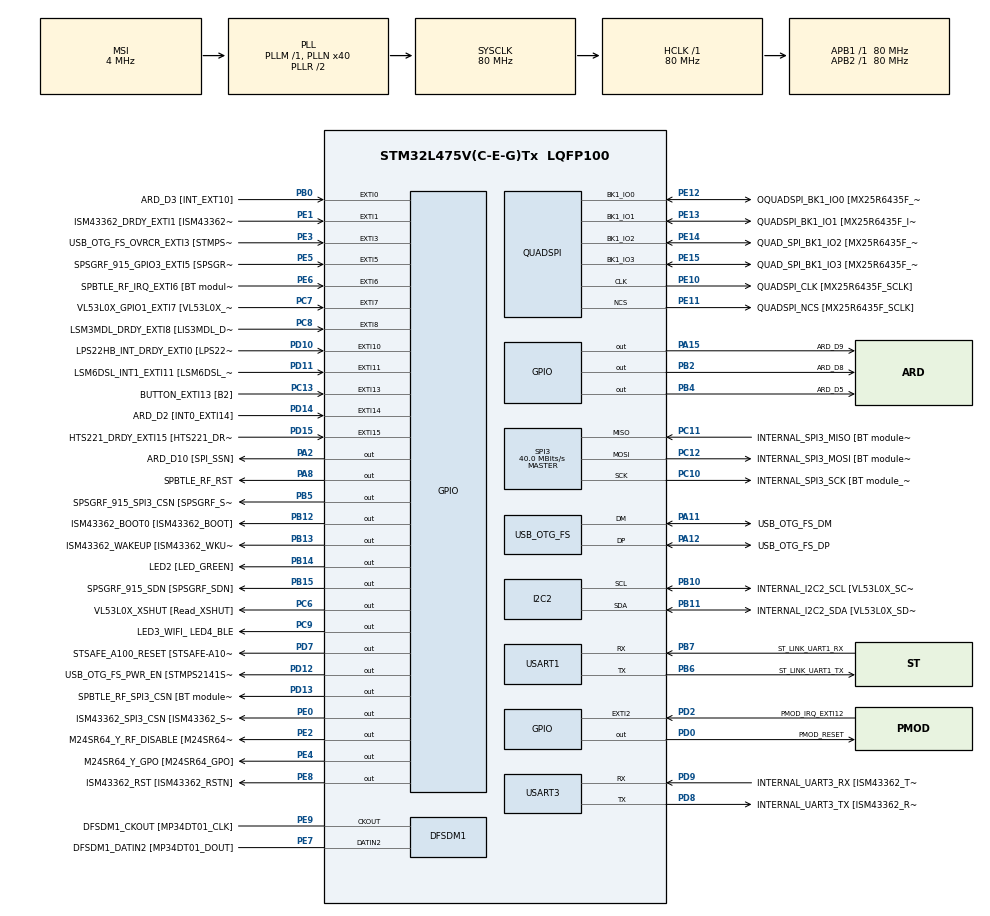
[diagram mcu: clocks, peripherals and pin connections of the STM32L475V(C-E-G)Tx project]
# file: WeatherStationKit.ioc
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Dma.I2C2_RX.0.Direction=DMA_PERIPH_TO_MEMORY
Dma.I2C2_RX.0.Instance=DMA1_Channel5
Dma.I2C2_RX.0.MemDataAlignment=DMA_MDATAALIGN_BYTE
Dma.I2C2_RX.0.MemInc=DMA_MINC_ENABLE
Dma.I2C2_RX.0.Mode=DMA_NORMAL
Dma.I2C2_RX.0.PeriphDataAlignment=DMA_PDATAALIGN_BYTE
Dma.I2C2_RX.0.PeriphInc=DMA_PINC_DISABLE
Dma.I2C2_RX.0.Priority=DMA_PRIORITY_LOW
Dma.I2C2_TX.1.Direction=DMA_MEMORY_TO_PERIPH
Dma.I2C2_TX.1.Instance=DMA1_Channel4
Dma.I2C2_TX.1.MemDataAlignment=DMA_MDATAALIGN_BYTE
Dma.I2C2_TX.1.MemInc=DMA_MINC_ENABLE
Dma.I2C2_TX.1.Mode=DMA_NORMAL
Dma.I2C2_TX.1.PeriphDataAlignment=DMA_PDATAALIGN_BYTE
Dma.I2C2_TX.1.PeriphInc=DMA_PINC_DISABLE
Dma.I2C2_TX.1.Priority=DMA_PRIORITY_LOW
Dma.Request0=I2C2_RX
Dma.Request1=I2C2_TX
FREERTOS.Queues01=commandQ,4,uint16_t,0,Dynamic,NULL,NULL;dataQ,8,uint16_t,0,Dynamic,NULL,NULL
FREERTOS.Tasks01=commandIn,32,128,StartCommandIn,Default,NULL,Dynamic,NULL,NULL;commandOut,24,128,StartCommandOut,Default,NULL,Dynamic,NULL,NULL;dataIn,16,128,StartDataIn,Default,NULL,Dynamic,NULL,NULL;dataOut,24,192,StartDataOut,Default,NULL,Dynamic,NULL,NULL
FREERTOS.configUSE_NEWLIB_REENTRANT=1
Mcu.Family=STM32L4
Mcu.Name=STM32L475V(C-E-G)Tx
Mcu.Package=LQFP100
NVIC.DMA1_Channel4_IRQn=true\:5\:0\:false\:false\:true\:true\:false\:true\:true
NVIC.DMA1_Channel5_IRQn=true\:5\:0\:false\:false\:true\:true\:false\:true\:true
NVIC.EXTI15_10_IRQn=true\:5\:0\:false\:false\:true\:true\:true\:true\:true
NVIC.EXTI9_5_IRQn=true\:5\:0\:false\:false\:true\:true\:true\:true\:true
NVIC.I2C2_EV_IRQn=true\:5\:0\:false\:false\:true\:true\:true\:true\:true
NVIC.PriorityGroup=NVIC_PRIORITYGROUP_4
NVIC.TIM6_DAC_IRQn=true\:15\:0\:false\:false\:true\:false\:false\:true\:true
NVIC.TimeBase=TIM6_DAC_IRQn
NVIC.TimeBaseIP=TIM6
PA0.GPIO_Label=ARD_D1 [UART4_TX]
PA0.Signal=UART4_TX
PA1.GPIO_Label=ARD_D0 [UART4_RX]
PA1.Signal=UART4_RX
PA10.GPIO_Label=USB_OTG_FS_ID
PA10.Signal=USB_OTG_FS_ID
PA11.GPIO_Label=USB_OTG_FS_DM
PA11.Mode=Device_Only
PA11.Signal=USB_OTG_FS_DM
PA12.GPIO_Label=USB_OTG_FS_DP
PA12.Mode=Device_Only
PA12.Signal=USB_OTG_FS_DP
PA13\ (JTMS-SWDIO).GPIO_Label=SYS_JTMS_SWDIO
PA13\ (JTMS-SWDIO).Mode=Serial_Wire
PA13\ (JTMS-SWDIO).Signal=SYS_JTMS-SWDIO
PA14\ (JTCK-SWCLK).GPIO_Label=SYS_JTCK_SWCLK
PA14\ (JTCK-SWCLK).Mode=Serial_Wire
PA14\ (JTCK-SWCLK).Signal=SYS_JTCK-SWCLK
PA15\ (JTDI).GPIO_Label=ARD_D9
PA15\ (JTDI).Signal=GPIO_Output
PA2.GPIO_Label=ARD_D10 [SPI_SSN]
PA2.Signal=GPIO_Output
PA3.GPIO_Label=ARD_D4
PA3.Signal=S_TIM2_CH4
PA4.GPIO_Label=ARD_D7
PA4.Signal=ADCx_IN9
PA5.GPIO_Label=ARD_D13 [SPI1_SCK]
PA5.Signal=SPI1_SCK
PA6.GPIO_Label=ARD_D12 [SPI1_MISO]
PA6.Signal=SPI1_MISO
PA7.GPIO_Label=ARD_D11 [SPI1_MOSI]
PA7.Signal=SPI1_MOSI
PA8.GPIO_Label=SPBTLE_RF_RST
PA8.Signal=GPIO_Output
PA9.GPIO_Label=USB_OTG_FS_VBUS [STMPS2141STR_OUT]
PA9.Signal=USB_OTG_FS_VBUS
PB0.GPIO_Label=ARD_D3 [INT_EXT10]
PB0.Signal=GPXTI0
PB1.GPIO_Label=ARD_D6 [ADC1_IN6]
PB1.Signal=ADCx_IN16
PB10.GPIO_Label=INTERNAL_I2C2_SCL [VL53L0X_SCL]
PB10.GPIO_Pu=GPIO_PULLUP
PB10.Mode=I2C
PB10.Signal=I2C2_SCL
PB11.GPIO_Label=INTERNAL_I2C2_SDA [VL53L0X_SDA]
PB11.GPIO_Pu=GPIO_PULLUP
PB11.Mode=I2C
PB11.Signal=I2C2_SDA
PB12.GPIO_Label=ISM43362_BOOT0 [ISM43362_BOOT]
PB12.Signal=GPIO_Output
PB13.GPIO_Label=ISM43362_WAKEUP [ISM43362_WKUP]
PB13.Signal=GPIO_Output
PB14.GPIO_Label=LED2 [LED_GREEN]
PB14.Signal=GPIO_Output
PB15.GPIO_Label=SPSGRF_915_SDN [SPSGRF_SDN]
PB15.Signal=GPIO_Output
PB2.GPIO_Label=ARD_D8
PB2.Signal=GPIO_Output
PB3\ (JTDO-TRACESWO).GPIO_Label=SYS_JTD0_SWO
PB3\ (JTDO-TRACESWO).Signal=SYS_JTDO-SWO
PB4\ (NJTRST).GPIO_Label=ARD_D5
PB4\ (NJTRST).Signal=GPIO_Output
PB5.GPIO_Label=SPSGRF_915_SPI3_CSN [SPSGRF_SPI_CS]
PB5.PinState=GPIO_PIN_SET
PB5.Signal=GPIO_Output
PB6.GPIO_Label=ST_LINK_UART1_TX
PB6.Mode=Asynchronous
PB6.Signal=USART1_TX
PB7.GPIO_Label=ST_LINK_UART1_RX
PB7.Mode=Asynchronous
PB7.Signal=USART1_RX
PB8.GPIO_Label=ARD_D15 [I2C1_SCL]
PB8.Signal=I2C1_SCL
PB9.GPIO_Label=ARD_D14 [I2C1_SDA]
PB9.Signal=I2C1_SDA
PC0.GPIO_Label=ARD_A5 [ADC]
PC0.Signal=ADCx_IN1
PC1.GPIO_Label=ARD_A4 [ADC]
PC1.Signal=ADCx_IN2
PC10.GPIO_Label=INTERNAL_SPI3_SCK [BT module_SPI_SCLK] [ISM43362_SCK]
PC10.Mode=Full_Duplex_Master
PC10.Signal=SPI3_SCK
PC11.GPIO_Label=INTERNAL_SPI3_MISO [BT module_SPI_MISO] [ISM43362_MISO]
PC11.Mode=Full_Duplex_Master
PC11.Signal=SPI3_MISO
PC12.GPIO_Label=INTERNAL_SPI3_MOSI [BT module_SPI_MOSI] [ISM43362_MOSI]
PC12.Mode=Full_Duplex_Master
PC12.Signal=SPI3_MOSI
PC13.GPIO_Label=BUTTON_EXTI13 [B2]
PC13.GPIO_ModeDefaultEXTI=GPIO_MODE_IT_FALLING
PC13.Signal=GPXTI13
PC14-OSC32_IN\ (PC14).Mode=LSE-External-Oscillator
PC14-OSC32_IN\ (PC14).Signal=RCC_OSC32_IN
PC15-OSC32_OUT\ (PC15).Mode=LSE-External-Oscillator
PC15-OSC32_OUT\ (PC15).Signal=RCC_OSC32_OUT
PC2.GPIO_Label=ARD_A3 [ADC]
PC2.Signal=ADCx_IN3
PC3.GPIO_Label=ARD_A2 [ADC]
PC3.Signal=ADCx_IN4
PC4.GPIO_Label=ARD_A1 [ADC]
PC4.Signal=ADCx_IN13
PC5.GPIO_Label=ARD_A0 [ADC]
PC5.Signal=ADCx_IN14
PC6.GPIO_Label=VL53L0X_XSHUT [Read_XSHUT]
PC6.Signal=GPIO_Output
PC7.GPIO_Label=VL53L0X_GPIO1_EXTI7 [VL53L0X_GPIO1]
PC7.Signal=GPXTI7
PC8.GPIO_Label=LSM3MDL_DRDY_EXTI8 [LIS3MDL_DRDY]
PC8.Signal=GPXTI8
PC9.GPIO_Label=LED3_WIFI_ LED4_BLE
PC9.Signal=GPIO_Output
PD0.GPIO_Label=PMOD_RESET
PD0.Signal=GPIO_Output
PD1.GPIO_Label=PMOD_SPI2_SCK
PD1.Signal=SPI2_SCK
PD10.GPIO_Label=LPS22HB_INT_DRDY_EXTI0 [LPS22HB_INT_DRDY] 
PD10.Signal=GPXTI10
PD11.GPIO_Label=LSM6DSL_INT1_EXTI11 [LSM6DSL_INT1]
PD11.Signal=GPXTI11
PD12.GPIO_Label=USB_OTG_FS_PWR_EN [STMPS2141STR_EN]
PD12.Signal=GPIO_Output
PD13.GPIO_Label=SPBTLE_RF_SPI3_CSN [BT module_SPI_CS]
PD13.PinState=GPIO_PIN_SET
PD13.Signal=GPIO_Output
PD14.GPIO_Label=ARD_D2 [INT0_EXTI14]
PD14.Signal=GPXTI14
PD15.GPIO_Label=HTS221_DRDY_EXTI15 [HTS221_DRDY]
PD15.Signal=GPXTI15
PD2.GPIO_Label=PMOD_IRQ_EXTI12
PD2.Signal=GPXTI2
PD3.GPIO_Label=PMOD_UART2_CTS
PD3.Signal=USART2_CTS
PD4.GPIO_Label=PMOD_UART2_RTS
PD4.Signal=USART2_RTS
PD5.GPIO_Label=PMOD_UART2_TX
PD5.Signal=USART2_TX
PD6.GPIO_Label=PMOD_UART2_RX
PD6.Signal=USART2_RX
PD7.GPIO_Label=STSAFE_A100_RESET [STSAFE-A100_RESET]
PD7.Signal=GPIO_Output
PD8.GPIO_Label=INTERNAL_UART3_TX [ISM43362_RX]
PD8.Mode=Asynchronous
PD8.Signal=USART3_TX
PD9.GPIO_Label=INTERNAL_UART3_RX [ISM43362_TX]
PD9.Mode=Asynchronous
PD9.Signal=USART3_RX
PE0.GPIO_Label=ISM43362_SPI3_CSN [ISM43362_SSN]
PE0.PinState=GPIO_PIN_SET
PE0.Signal=GPIO_Output
PE1.GPIO_Label=ISM43362_DRDY_EXTI1 [ISM43362_DATARDY]
PE1.Signal=GPXTI1
PE10.GPIO_Label=QUADSPI_CLK [MX25R6435F_SCLK]
PE10.Mode=Single Bank
PE10.Signal=QUADSPI_CLK
PE11.GPIO_Label=QUADSPI_NCS [MX25R6435F_SCLK]
PE11.Mode=Single Bank
PE11.Signal=QUADSPI_NCS
PE12.GPIO_Label=OQUADSPI_BK1_IO0 [MX25R6435F_IO0]
PE12.Mode=Single Bank
PE12.Signal=QUADSPI_BK1_IO0
PE13.GPIO_Label=QUADSPI_BK1_IO1 [MX25R6435F_IO1]
PE13.Mode=Single Bank
PE13.Signal=QUADSPI_BK1_IO1
PE14.GPIO_Label=QUAD_SPI_BK1_IO2 [MX25R6435F_IO2]
PE14.Mode=Single Bank
PE14.Signal=QUADSPI_BK1_IO2
PE15.GPIO_Label=QUAD_SPI_BK1_IO3 [MX25R6435F_IO3]
PE15.Mode=Single Bank
PE15.Signal=QUADSPI_BK1_IO3
PE2.GPIO_Label=M24SR64_Y_RF_DISABLE [M24SR64_RFDIS]
PE2.Signal=GPIO_Output
PE3.GPIO_Label=USB_OTG_FS_OVRCR_EXTI3 [STMPS2141STR_FAULT]
PE3.Signal=GPXTI3
PE4.GPIO_Label=M24SR64_Y_GPO [M24SR64_GPO]
PE4.Signal=GPIO_Output
PE5.GPIO_Label=SPSGRF_915_GPIO3_EXTI5 [SPSGRF_GPIO_3]
PE5.Signal=GPXTI5
PE6.GPIO_Label=SPBTLE_RF_IRQ_EXTI6 [BT module_SPI_IRQ]
PE6.Signal=GPXTI6
PE7.GPIO_Label=DFSDM1_DATIN2 [MP34DT01_DOUT]
PE7.Signal=S_DATAIN2DFSDM1
PE8.GPIO_Label=ISM43362_RST [ISM43362_RSTN]
PE8.Signal=GPIO_Output
PE9.GPIO_Label=DFSDM1_CKOUT [MP34DT01_CLK]
PE9.Signal=S_CKOUTDFSDM1
ProjectManager.HeapSize=0x200
ProjectManager.StackSize=0x400
ProjectManager.TargetToolchain=STM32CubeIDE
QUADSPI.ClockPrescaler=2
QUADSPI.FifoThreshold=4
QUADSPI.FlashSize=23
QUADSPI.SampleShifting=QSPI_SAMPLE_SHIFTING_HALFCYCLE
RCC.ADCFreq_Value=48000000
RCC.AHBFreq_Value=80000000
RCC.APB1Freq_Value=80000000
RCC.APB1TimFreq_Value=80000000
RCC.APB2Freq_Value=80000000
RCC.APB2TimFreq_Value=80000000
RCC.CortexFreq_Value=80000000
RCC.HCLKFreq_Value=80000000
RCC.HSE_VALUE=8000000
RCC.HSI_VALUE=16000000
RCC.MSI_VALUE=4000000
RCC.PLLN=40
RCC.PLLSAI1N=24
RCC.SYSCLKFreq_VALUE=80000000
RCC.SYSCLKSource=RCC_SYSCLKSOURCE_PLLCLK
RCC.USBFreq_Value=48000000
RCC.VCOOutputFreq_Value=160000000
SH.ADCx_IN1.0=ADC1_IN1
SH.ADCx_IN13.0=ADC1_IN13
SH.ADCx_IN14.0=ADC1_IN14
SH.ADCx_IN16.0=ADC1_IN16
SH.ADCx_IN2.0=ADC1_IN2
SH.ADCx_IN3.0=ADC1_IN3
SH.ADCx_IN4.0=ADC1_IN4
SH.ADCx_IN9.0=ADC1_IN9
SH.S_CKOUTDFSDM1.0=DFSDM1_CKOUT,CKOUT
SH.S_CKOUTDFSDM1.1=DFSDM1_CKOUT,PDM_SPI_Input_from_ch12_and_Internal_Clock
SH.S_DATAIN2DFSDM1.0=DFSDM1_DATIN2,PDM_SPI_Input_from_ch12_and_Internal_Clock
SH.S_TIM2_CH4.0=TIM2_CH4
SPI3.CalculateBaudRate=40.0 MBits/s
SPI3.Direction=SPI_DIRECTION_2LINES
SPI3.Mode=SPI_MODE_MASTER
SPI3.VirtualType=VM_MASTER
USART1.VirtualMode-Asynchronous=VM_ASYNC
USART3.VirtualMode-Asynchronous=VM_ASYNC
USB_OTG_FS.VirtualMode=Device_Only
VP_FREERTOS_VS_CMSIS_V2.Mode=CMSIS_V2
VP_SYS_VS_tim6.Mode=TIM6
board=B-L475E-IOT01A1

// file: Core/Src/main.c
/* USER CODE BEGIN Header */
/**
  ******************************************************************************
  * @file           : main.c
  * @brief          : Main program body
  ******************************************************************************
  * @attention
  *
  * Copyright (c) 2024 STMicroelectronics.
  * All rights reserved.
  *
  * This software is licensed under terms that can be found in the LICENSE file
  * in the root directory of this software component.
  * If no LICENSE file comes with this software, it is provided AS-IS.
  *
  ******************************************************************************
  */
/* USER CODE END Header */
#include "main.h"
#include "cmsis_os.h"

/* USER CODE BEGIN Includes */
#include "stdio.h"
#include "string.h"
/* USER CODE END Includes */

/* USER CODE BEGIN PTD */
struct NetworkContext;
typedef struct NetworkContext NetworkContext_t;
/* USER CODE END PTD */

/* USER CODE BEGIN PD */
#define HST221_READ_ADDRESS  0xbf  // read from device
#define HST221_WRITE_ADDRESS 0xbe  // write to device
/* USER CODE END PD */

DFSDM_Channel_HandleTypeDef hdfsdm1_channel1;

I2C_HandleTypeDef hi2c2;
DMA_HandleTypeDef hdma_i2c2_rx;
DMA_HandleTypeDef hdma_i2c2_tx;

QSPI_HandleTypeDef hqspi;

SPI_HandleTypeDef hspi3;

UART_HandleTypeDef huart1;
UART_HandleTypeDef huart3;

PCD_HandleTypeDef hpcd_USB_OTG_FS;

///* Definitions for commandIn */
//osThreadId_t commandInHandle;
//const osThreadAttr_t commandIn_attributes = {
//  .name = "commandIn",
//  .stack_size = 128 * 4,
//  .priority = (osPriority_t) osPriorityAboveNormal,
//};
/* Definitions for commandOut */
osThreadId_t commandOutHandle;
const osThreadAttr_t commandOut_attributes = {
  .name = "commandOut",
  .stack_size = 128 * 4,
  .priority = (osPriority_t) osPriorityNormal,
};
/* Definitions for dataIn */
osThreadId_t dataInHandle;
const osThreadAttr_t dataIn_attributes = {
  .name = "dataIn",
  .stack_size = 128 * 4,
  .priority = (osPriority_t) osPriorityNormal,
};
/* Definitions for dataOut */
osThreadId_t dataOutHandle;
const osThreadAttr_t dataOut_attributes = {
  .name = "dataOut",
  .stack_size = 192 * 4,
  .priority = (osPriority_t) osPriorityNormal,
};
/* Definitions for commandQ */
osMessageQueueId_t commandQHandle;
const osMessageQueueAttr_t commandQ_attributes = {
  .name = "commandQ"
};
/* Definitions for dataQ */
osMessageQueueId_t dataQHandle;
const osMessageQueueAttr_t dataQ_attributes = {
  .name = "dataQ"
};
/* USER CODE BEGIN PV */
volatile static int temp_tx_done = 0;
volatile static int temp_rx_done = 0;
//volatile static int temp_hum_ready = 0;
/* USER CODE END PV */

void SystemClock_Config(void);
static void MX_GPIO_Init(void);
static void MX_DMA_Init(void);
static void MX_DFSDM1_Init(void);
static void MX_I2C2_Init(void);
static void MX_QUADSPI_Init(void);
static void MX_SPI3_Init(void);
static void MX_USART1_UART_Init(void);
static void MX_USART3_UART_Init(void);
static void MX_USB_OTG_FS_PCD_Init(void);
//void StartCommandIn(void *argument);
void StartCommandOut(void *argument);
void StartDataIn(void *argument);
void StartDataOut(void *argument);

/* USER CODE BEGIN PFP */
void HAL_I2C_MasterTxCpltCallback(I2C_HandleTypeDef *hi2c);
void HAL_I2C_MasterRxCpltCallback(I2C_HandleTypeDef *hi2c);
/* USER CODE END PFP */

/* USER CODE BEGIN 0 */
void HAL_I2C_MasterTxCpltCallback(I2C_HandleTypeDef *hi2c)
{
	temp_tx_done = 1;
}

void HAL_I2C_MasterRxCpltCallback(I2C_HandleTypeDef *hi2c)
{
	temp_rx_done = 1;
}
/* USER CODE END 0 */

int main(void)
{

  /* MCU Configuration--------------------------------------------------------*/

  /* Reset of all peripherals, Initializes the Flash interface and the Systick. */
  HAL_Init();

  /* Configure the system clock */
  SystemClock_Config();

  /* Initialize all configured peripherals */
  MX_GPIO_Init();
  MX_DMA_Init();
  MX_DFSDM1_Init();
  MX_I2C2_Init();
  MX_QUADSPI_Init();
  MX_SPI3_Init();
  MX_USART1_UART_Init();
  MX_USART3_UART_Init();
  MX_USB_OTG_FS_PCD_Init();

  /* USER CODE BEGIN 2 */
  // Transmit request to power on thermometer device
  uint8_t temp_power_reg = 0x20;
  uint8_t power_data[] = { temp_power_reg, 0xf0 };  // Turn on device
  HAL_StatusTypeDef status;
  status = HAL_I2C_Master_Transmit(&hi2c2, HST221_WRITE_ADDRESS, power_data, sizeof(power_data), 1000);

  // Print out transmit status
  char buf[100];
  snprintf(buf, sizeof(buf), "\r\n(Power device on): HAL_I2C_Master_Transmit: status: %u\r\n", status);
  HAL_UART_Transmit(&huart1, (uint8_t *)buf, strlen(buf), 1000);
  /* USER CODE END 2 */

  /* Init scheduler */
  osKernelInitialize();

  /* Create the queue(s) */
  /* creation of commandQ */
  commandQHandle = osMessageQueueNew (4, sizeof(uint16_t), &commandQ_attributes);

  /* creation of dataQ */
  dataQHandle = osMessageQueueNew (8, sizeof(uint16_t), &dataQ_attributes);

  /* Create the thread(s) */
  /* creation of commandIn */
//  commandInHandle = osThreadNew(StartCommandIn, NULL, &commandIn_attributes);

  /* creation of commandOut */
  commandOutHandle = osThreadNew(StartCommandOut, NULL, &commandOut_attributes);

  /* creation of dataIn */
  dataInHandle = osThreadNew(StartDataIn, NULL, &dataIn_attributes);

  /* creation of dataOut */
  dataOutHandle = osThreadNew(StartDataOut, NULL, &dataOut_attributes);

  /* Start scheduler */
  osKernelStart();

  /* We should never get here as control is now taken by the scheduler */

  /* Infinite loop */
  while (1)
  {

  }
}

void SystemClock_Config(void)
{
  RCC_OscInitTypeDef RCC_OscInitStruct = {0};
  RCC_ClkInitTypeDef RCC_ClkInitStruct = {0};

  /** Configure the main internal regulator output voltage
  */
  if (HAL_PWREx_ControlVoltageScaling(PWR_REGULATOR_VOLTAGE_SCALE1) != HAL_OK)
  {
    Error_Handler();
  }

  /** Configure LSE Drive Capability
  */
  HAL_PWR_EnableBkUpAccess();
  __HAL_RCC_LSEDRIVE_CONFIG(RCC_LSEDRIVE_LOW);

  /** Initializes the RCC Oscillators according to the specified parameters
  * in the RCC_OscInitTypeDef structure.
  */
  RCC_OscInitStruct.OscillatorType = RCC_OSCILLATORTYPE_LSE|RCC_OSCILLATORTYPE_MSI;
  RCC_OscInitStruct.LSEState = RCC_LSE_ON;
  RCC_OscInitStruct.MSIState = RCC_MSI_ON;
  RCC_OscInitStruct.MSICalibrationValue = 0;
  RCC_OscInitStruct.MSIClockRange = RCC_MSIRANGE_6;
  RCC_OscInitStruct.PLL.PLLState = RCC_PLL_ON;
  RCC_OscInitStruct.PLL.PLLSource = RCC_PLLSOURCE_MSI;
  RCC_OscInitStruct.PLL.PLLM = 1;
  RCC_OscInitStruct.PLL.PLLN = 40;
  RCC_OscInitStruct.PLL.PLLP = RCC_PLLP_DIV7;
  RCC_OscInitStruct.PLL.PLLQ = RCC_PLLQ_DIV2;
  RCC_OscInitStruct.PLL.PLLR = RCC_PLLR_DIV2;
  if (HAL_RCC_OscConfig(&RCC_OscInitStruct) != HAL_OK)
  {
    Error_Handler();
  }

  /** Initializes the CPU, AHB and APB buses clocks
  */
  RCC_ClkInitStruct.ClockType = RCC_CLOCKTYPE_HCLK|RCC_CLOCKTYPE_SYSCLK
                              |RCC_CLOCKTYPE_PCLK1|RCC_CLOCKTYPE_PCLK2;
  RCC_ClkInitStruct.SYSCLKSource = RCC_SYSCLKSOURCE_PLLCLK;
  RCC_ClkInitStruct.AHBCLKDivider = RCC_SYSCLK_DIV1;
  RCC_ClkInitStruct.APB1CLKDivider = RCC_HCLK_DIV1;
  RCC_ClkInitStruct.APB2CLKDivider = RCC_HCLK_DIV1;

  if (HAL_RCC_ClockConfig(&RCC_ClkInitStruct, FLASH_LATENCY_4) != HAL_OK)
  {
    Error_Handler();
  }

  /** Enable MSI Auto calibration
  */
  HAL_RCCEx_EnableMSIPLLMode();
}

static void MX_DFSDM1_Init(void)
{

  hdfsdm1_channel1.Instance = DFSDM1_Channel1;
  hdfsdm1_channel1.Init.OutputClock.Activation = ENABLE;
  hdfsdm1_channel1.Init.OutputClock.Selection = DFSDM_CHANNEL_OUTPUT_CLOCK_SYSTEM;
  hdfsdm1_channel1.Init.OutputClock.Divider = 2;
  hdfsdm1_channel1.Init.Input.Multiplexer = DFSDM_CHANNEL_EXTERNAL_INPUTS;
  hdfsdm1_channel1.Init.Input.DataPacking = DFSDM_CHANNEL_STANDARD_MODE;
  hdfsdm1_channel1.Init.Input.Pins = DFSDM_CHANNEL_FOLLOWING_CHANNEL_PINS;
  hdfsdm1_channel1.Init.SerialInterface.Type = DFSDM_CHANNEL_SPI_RISING;
  hdfsdm1_channel1.Init.SerialInterface.SpiClock = DFSDM_CHANNEL_SPI_CLOCK_INTERNAL;
  hdfsdm1_channel1.Init.Awd.FilterOrder = DFSDM_CHANNEL_FASTSINC_ORDER;
  hdfsdm1_channel1.Init.Awd.Oversampling = 1;
  hdfsdm1_channel1.Init.Offset = 0;
  hdfsdm1_channel1.Init.RightBitShift = 0x00;
  if (HAL_DFSDM_ChannelInit(&hdfsdm1_channel1) != HAL_OK)
  {
    Error_Handler();
  }

}

static void MX_I2C2_Init(void)
{

  hi2c2.Instance = I2C2;
  hi2c2.Init.Timing = 0x00000E14;
  hi2c2.Init.OwnAddress1 = 0;
  hi2c2.Init.AddressingMode = I2C_ADDRESSINGMODE_7BIT;
  hi2c2.Init.DualAddressMode = I2C_DUALADDRESS_DISABLE;
  hi2c2.Init.OwnAddress2 = 0;
  hi2c2.Init.OwnAddress2Masks = I2C_OA2_NOMASK;
  hi2c2.Init.GeneralCallMode = I2C_GENERALCALL_DISABLE;
  hi2c2.Init.NoStretchMode = I2C_NOSTRETCH_DISABLE;
  if (HAL_I2C_Init(&hi2c2) != HAL_OK)
  {
    Error_Handler();
  }

  /** Configure Analogue filter
  */
  if (HAL_I2CEx_ConfigAnalogFilter(&hi2c2, I2C_ANALOGFILTER_ENABLE) != HAL_OK)
  {
    Error_Handler();
  }

  /** Configure Digital filter
  */
  if (HAL_I2CEx_ConfigDigitalFilter(&hi2c2, 0) != HAL_OK)
  {
    Error_Handler();
  }

}

static void MX_QUADSPI_Init(void)
{

  /* QUADSPI parameter configuration*/
  hqspi.Instance = QUADSPI;
  hqspi.Init.ClockPrescaler = 2;
  hqspi.Init.FifoThreshold = 4;
  hqspi.Init.SampleShifting = QSPI_SAMPLE_SHIFTING_HALFCYCLE;
  hqspi.Init.FlashSize = 23;
  hqspi.Init.ChipSelectHighTime = QSPI_CS_HIGH_TIME_1_CYCLE;
  hqspi.Init.ClockMode = QSPI_CLOCK_MODE_0;
  if (HAL_QSPI_Init(&hqspi) != HAL_OK)
  {
    Error_Handler();
  }

}

static void MX_SPI3_Init(void)
{

  /* SPI3 parameter configuration*/
  hspi3.Instance = SPI3;
  hspi3.Init.Mode = SPI_MODE_MASTER;
  hspi3.Init.Direction = SPI_DIRECTION_2LINES;
  hspi3.Init.DataSize = SPI_DATASIZE_4BIT;
  hspi3.Init.CLKPolarity = SPI_POLARITY_LOW;
  hspi3.Init.CLKPhase = SPI_PHASE_1EDGE;
  hspi3.Init.NSS = SPI_NSS_SOFT;
  hspi3.Init.BaudRatePrescaler = SPI_BAUDRATEPRESCALER_2;
  hspi3.Init.FirstBit = SPI_FIRSTBIT_MSB;
  hspi3.Init.TIMode = SPI_TIMODE_DISABLE;
  hspi3.Init.CRCCalculation = SPI_CRCCALCULATION_DISABLE;
  hspi3.Init.CRCPolynomial = 7;
  hspi3.Init.CRCLength = SPI_CRC_LENGTH_DATASIZE;
  hspi3.Init.NSSPMode = SPI_NSS_PULSE_ENABLE;
  if (HAL_SPI_Init(&hspi3) != HAL_OK)
  {
    Error_Handler();
  }

}

static void MX_USART1_UART_Init(void)
{

  huart1.Instance = USART1;
  huart1.Init.BaudRate = 115200;
  huart1.Init.WordLength = UART_WORDLENGTH_8B;
  huart1.Init.StopBits = UART_STOPBITS_1;
  huart1.Init.Parity = UART_PARITY_NONE;
  huart1.Init.Mode = UART_MODE_TX_RX;
  huart1.Init.HwFlowCtl = UART_HWCONTROL_NONE;
  huart1.Init.OverSampling = UART_OVERSAMPLING_16;
  huart1.Init.OneBitSampling = UART_ONE_BIT_SAMPLE_DISABLE;
  huart1.AdvancedInit.AdvFeatureInit = UART_ADVFEATURE_NO_INIT;
  if (HAL_UART_Init(&huart1) != HAL_OK)
  {
    Error_Handler();
  }

}

static void MX_USART3_UART_Init(void)
{

  huart3.Instance = USART3;
  huart3.Init.BaudRate = 115200;
  huart3.Init.WordLength = UART_WORDLENGTH_8B;
  huart3.Init.StopBits = UART_STOPBITS_1;
  huart3.Init.Parity = UART_PARITY_NONE;
  huart3.Init.Mode = UART_MODE_TX_RX;
  huart3.Init.HwFlowCtl = UART_HWCONTROL_NONE;
  huart3.Init.OverSampling = UART_OVERSAMPLING_16;
  huart3.Init.OneBitSampling = UART_ONE_BIT_SAMPLE_DISABLE;
  huart3.AdvancedInit.AdvFeatureInit = UART_ADVFEATURE_NO_INIT;
  if (HAL_UART_Init(&huart3) != HAL_OK)
  {
    Error_Handler();
  }

}

static void MX_USB_OTG_FS_PCD_Init(void)
{

  hpcd_USB_OTG_FS.Instance = USB_OTG_FS;
  hpcd_USB_OTG_FS.Init.dev_endpoints = 6;
  hpcd_USB_OTG_FS.Init.speed = PCD_SPEED_FULL;
  hpcd_USB_OTG_FS.Init.phy_itface = PCD_PHY_EMBEDDED;
  hpcd_USB_OTG_FS.Init.Sof_enable = DISABLE;
  hpcd_USB_OTG_FS.Init.low_power_enable = DISABLE;
  hpcd_USB_OTG_FS.Init.lpm_enable = DISABLE;
  hpcd_USB_OTG_FS.Init.battery_charging_enable = DISABLE;
  hpcd_USB_OTG_FS.Init.use_dedicated_ep1 = DISABLE;
  hpcd_USB_OTG_FS.Init.vbus_sensing_enable = DISABLE;
  if (HAL_PCD_Init(&hpcd_USB_OTG_FS) != HAL_OK)
  {
    Error_Handler();
  }

}

static void MX_DMA_Init(void)
{

  /* DMA controller clock enable */
  __HAL_RCC_DMA1_CLK_ENABLE();

  /* DMA interrupt init */
  /* DMA1_Channel4_IRQn interrupt configuration */
  HAL_NVIC_SetPriority(DMA1_Channel4_IRQn, 5, 0);
  HAL_NVIC_EnableIRQ(DMA1_Channel4_IRQn);
  /* DMA1_Channel5_IRQn interrupt configuration */
  HAL_NVIC_SetPriority(DMA1_Channel5_IRQn, 5, 0);
  HAL_NVIC_EnableIRQ(DMA1_Channel5_IRQn);

}

static void MX_GPIO_Init(void)
{
  GPIO_InitTypeDef GPIO_InitStruct = {0};

  /* GPIO Ports Clock Enable */
  __HAL_RCC_GPIOE_CLK_ENABLE();
  __HAL_RCC_GPIOC_CLK_ENABLE();
  __HAL_RCC_GPIOA_CLK_ENABLE();
  __HAL_RCC_GPIOB_CLK_ENABLE();
  __HAL_RCC_GPIOD_CLK_ENABLE();

  /*Configure GPIO pin Output Level */
  HAL_GPIO_WritePin(GPIOE, M24SR64_Y_RF_DISABLE_Pin|M24SR64_Y_GPO_Pin|ISM43362_RST_Pin, GPIO_PIN_RESET);

  /*Configure GPIO pin Output Level */
  HAL_GPIO_WritePin(GPIOA, ARD_D10_Pin|SPBTLE_RF_RST_Pin|ARD_D9_Pin, GPIO_PIN_RESET);

  /*Configure GPIO pin Output Level */
  HAL_GPIO_WritePin(GPIOB, ARD_D8_Pin|ISM43362_BOOT0_Pin|ISM43362_WAKEUP_Pin|LED2_Pin
                          |SPSGRF_915_SDN_Pin|ARD_D5_Pin, GPIO_PIN_RESET);

  /*Configure GPIO pin Output Level */
  HAL_GPIO_WritePin(GPIOD, USB_OTG_FS_PWR_EN_Pin|PMOD_RESET_Pin|STSAFE_A100_RESET_Pin, GPIO_PIN_RESET);

  /*Configure GPIO pin Output Level */
  HAL_GPIO_WritePin(SPBTLE_RF_SPI3_CSN_GPIO_Port, SPBTLE_RF_SPI3_CSN_Pin, GPIO_PIN_SET);

  /*Configure GPIO pin Output Level */
  HAL_GPIO_WritePin(GPIOC, VL53L0X_XSHUT_Pin|LED3_WIFI__LED4_BLE_Pin, GPIO_PIN_RESET);

  /*Configure GPIO pin Output Level */
  HAL_GPIO_WritePin(SPSGRF_915_SPI3_CSN_GPIO_Port, SPSGRF_915_SPI3_CSN_Pin, GPIO_PIN_SET);

  /*Configure GPIO pin Output Level */
  HAL_GPIO_WritePin(ISM43362_SPI3_CSN_GPIO_Port, ISM43362_SPI3_CSN_Pin, GPIO_PIN_SET);

  /*Configure GPIO pins : M24SR64_Y_RF_DISABLE_Pin M24SR64_Y_GPO_Pin ISM43362_RST_Pin ISM43362_SPI3_CSN_Pin */
  GPIO_InitStruct.Pin = M24SR64_Y_RF_DISABLE_Pin|M24SR64_Y_GPO_Pin|ISM43362_RST_Pin|ISM43362_SPI3_CSN_Pin;
  GPIO_InitStruct.Mode = GPIO_MODE_OUTPUT_PP;
  GPIO_InitStruct.Pull = GPIO_NOPULL;
  GPIO_InitStruct.Speed = GPIO_SPEED_FREQ_LOW;
  HAL_GPIO_Init(GPIOE, &GPIO_InitStruct);

  /*Configure GPIO pins : USB_OTG_FS_OVRCR_EXTI3_Pin SPSGRF_915_GPIO3_EXTI5_Pin SPBTLE_RF_IRQ_EXTI6_Pin ISM43362_DRDY_EXTI1_Pin */
  GPIO_InitStruct.Pin = USB_OTG_FS_OVRCR_EXTI3_Pin|SPSGRF_915_GPIO3_EXTI5_Pin|SPBTLE_RF_IRQ_EXTI6_Pin|ISM43362_DRDY_EXTI1_Pin;
  GPIO_InitStruct.Mode = GPIO_MODE_IT_RISING;
  GPIO_InitStruct.Pull = GPIO_NOPULL;
  HAL_GPIO_Init(GPIOE, &GPIO_InitStruct);

  /*Configure GPIO pin : BUTTON_EXTI13_Pin */
  GPIO_InitStruct.Pin = BUTTON_EXTI13_Pin;
  GPIO_InitStruct.Mode = GPIO_MODE_IT_FALLING;
  GPIO_InitStruct.Pull = GPIO_NOPULL;
  HAL_GPIO_Init(BUTTON_EXTI13_GPIO_Port, &GPIO_InitStruct);

  /*Configure GPIO pins : ARD_A5_Pin ARD_A4_Pin ARD_A3_Pin ARD_A2_Pin
                           ARD_A1_Pin ARD_A0_Pin */
  GPIO_InitStruct.Pin = ARD_A5_Pin|ARD_A4_Pin|ARD_A3_Pin|ARD_A2_Pin
                          |ARD_A1_Pin|ARD_A0_Pin;
  GPIO_InitStruct.Mode = GPIO_MODE_ANALOG_ADC_CONTROL;
  GPIO_InitStruct.Pull = GPIO_NOPULL;
  HAL_GPIO_Init(GPIOC, &GPIO_InitStruct);

  /*Configure GPIO pins : ARD_D1_Pin ARD_D0_Pin */
  GPIO_InitStruct.Pin = ARD_D1_Pin|ARD_D0_Pin;
  GPIO_InitStruct.Mode = GPIO_MODE_AF_PP;
  GPIO_InitStruct.Pull = GPIO_NOPULL;
  GPIO_InitStruct.Speed = GPIO_SPEED_FREQ_VERY_HIGH;
  GPIO_InitStruct.Alternate = GPIO_AF8_UART4;
  HAL_GPIO_Init(GPIOA, &GPIO_InitStruct);

  /*Configure GPIO pins : ARD_D10_Pin SPBTLE_RF_RST_Pin ARD_D9_Pin */
  GPIO_InitStruct.Pin = ARD_D10_Pin|SPBTLE_RF_RST_Pin|ARD_D9_Pin;
  GPIO_InitStruct.Mode = GPIO_MODE_OUTPUT_PP;
  GPIO_InitStruct.Pull = GPIO_NOPULL;
  GPIO_InitStruct.Speed = GPIO_SPEED_FREQ_LOW;
  HAL_GPIO_Init(GPIOA, &GPIO_InitStruct);

  /*Configure GPIO pin : ARD_D4_Pin */
  GPIO_InitStruct.Pin = ARD_D4_Pin;
  GPIO_InitStruct.Mode = GPIO_MODE_AF_PP;
  GPIO_InitStruct.Pull = GPIO_NOPULL;
  GPIO_InitStruct.Speed = GPIO_SPEED_FREQ_LOW;
  GPIO_InitStruct.Alternate = GPIO_AF1_TIM2;
  HAL_GPIO_Init(ARD_D4_GPIO_Port, &GPIO_InitStruct);

  /*Configure GPIO pin : ARD_D7_Pin */
  GPIO_InitStruct.Pin = ARD_D7_Pin;
  GPIO_InitStruct.Mode = GPIO_MODE_ANALOG_ADC_CONTROL;
  GPIO_InitStruct.Pull = GPIO_NOPULL;
  HAL_GPIO_Init(ARD_D7_GPIO_Port, &GPIO_InitStruct);

  /*Configure GPIO pins : ARD_D13_Pin ARD_D12_Pin ARD_D11_Pin */
  GPIO_InitStruct.Pin = ARD_D13_Pin|ARD_D12_Pin|ARD_D11_Pin;
  GPIO_InitStruct.Mode = GPIO_MODE_AF_PP;
  GPIO_InitStruct.Pull = GPIO_NOPULL;
  GPIO_InitStruct.Speed = GPIO_SPEED_FREQ_VERY_HIGH;
  GPIO_InitStruct.Alternate = GPIO_AF5_SPI1;
  HAL_GPIO_Init(GPIOA, &GPIO_InitStruct);

  /*Configure GPIO pin : ARD_D3_Pin */
  GPIO_InitStruct.Pin = ARD_D3_Pin;
  GPIO_InitStruct.Mode = GPIO_MODE_IT_RISING;
  GPIO_InitStruct.Pull = GPIO_NOPULL;
  HAL_GPIO_Init(ARD_D3_GPIO_Port, &GPIO_InitStruct);

  /*Configure GPIO pin : ARD_D6_Pin */
  GPIO_InitStruct.Pin = ARD_D6_Pin;
  GPIO_InitStruct.Mode = GPIO_MODE_ANALOG_ADC_CONTROL;
  GPIO_InitStruct.Pull = GPIO_NOPULL;
  HAL_GPIO_Init(ARD_D6_GPIO_Port, &GPIO_InitStruct);

  /*Configure GPIO pins : ARD_D8_Pin ISM43362_BOOT0_Pin ISM43362_WAKEUP_Pin LED2_Pin
                           SPSGRF_915_SDN_Pin ARD_D5_Pin SPSGRF_915_SPI3_CSN_Pin */
  GPIO_InitStruct.Pin = ARD_D8_Pin|ISM43362_BOOT0_Pin|ISM43362_WAKEUP_Pin|LED2_Pin
                          |SPSGRF_915_SDN_Pin|ARD_D5_Pin|SPSGRF_915_SPI3_CSN_Pin;
  GPIO_InitStruct.Mode = GPIO_MODE_OUTPUT_PP;
  GPIO_InitStruct.Pull = GPIO_NOPULL;
  GPIO_InitStruct.Speed = GPIO_SPEED_FREQ_LOW;
  HAL_GPIO_Init(GPIOB, &GPIO_InitStruct);

  /*Configure GPIO pins : LPS22HB_INT_DRDY_EXTI0_Pin LSM6DSL_INT1_EXTI11_Pin ARD_D2_Pin HTS221_DRDY_EXTI15_Pin
                           PMOD_IRQ_EXTI12_Pin */
  GPIO_InitStruct.Pin = LPS22HB_INT_DRDY_EXTI0_Pin|LSM6DSL_INT1_EXTI11_Pin|ARD_D2_Pin|HTS221_DRDY_EXTI15_Pin
                          |PMOD_IRQ_EXTI12_Pin;
  GPIO_InitStruct.Mode = GPIO_MODE_IT_RISING;
  GPIO_InitStruct.Pull = GPIO_NOPULL;
  HAL_GPIO_Init(GPIOD, &GPIO_InitStruct);

  /*Configure GPIO pins : USB_OTG_FS_PWR_EN_Pin SPBTLE_RF_SPI3_CSN_Pin PMOD_RESET_Pin STSAFE_A100_RESET_Pin */
  GPIO_InitStruct.Pin = USB_OTG_FS_PWR_EN_Pin|SPBTLE_RF_SPI3_CSN_Pin|PMOD_RESET_Pin|STSAFE_A100_RESET_Pin;
  GPIO_InitStruct.Mode = GPIO_MODE_OUTPUT_PP;
  GPIO_InitStruct.Pull = GPIO_NOPULL;
  GPIO_InitStruct.Speed = GPIO_SPEED_FREQ_LOW;
  HAL_GPIO_Init(GPIOD, &GPIO_InitStruct);

  /*Configure GPIO pins : VL53L0X_XSHUT_Pin LED3_WIFI__LED4_BLE_Pin */
  GPIO_InitStruct.Pin = VL53L0X_XSHUT_Pin|LED3_WIFI__LED4_BLE_Pin;
  GPIO_InitStruct.Mode = GPIO_MODE_OUTPUT_PP;
  GPIO_InitStruct.Pull = GPIO_NOPULL;
  GPIO_InitStruct.Speed = GPIO_SPEED_FREQ_LOW;
  HAL_GPIO_Init(GPIOC, &GPIO_InitStruct);

  /*Configure GPIO pins : VL53L0X_GPIO1_EXTI7_Pin LSM3MDL_DRDY_EXTI8_Pin */
  GPIO_InitStruct.Pin = VL53L0X_GPIO1_EXTI7_Pin|LSM3MDL_DRDY_EXTI8_Pin;
  GPIO_InitStruct.Mode = GPIO_MODE_IT_RISING;
  GPIO_InitStruct.Pull = GPIO_NOPULL;
  HAL_GPIO_Init(GPIOC, &GPIO_InitStruct);

  /*Configure GPIO pin : PMOD_SPI2_SCK_Pin */
  GPIO_InitStruct.Pin = PMOD_SPI2_SCK_Pin;
  GPIO_InitStruct.Mode = GPIO_MODE_AF_PP;
  GPIO_InitStruct.Pull = GPIO_NOPULL;
  GPIO_InitStruct.Speed = GPIO_SPEED_FREQ_VERY_HIGH;
  GPIO_InitStruct.Alternate = GPIO_AF5_SPI2;
  HAL_GPIO_Init(PMOD_SPI2_SCK_GPIO_Port, &GPIO_InitStruct);

  /*Configure GPIO pins : PMOD_UART2_CTS_Pin PMOD_UART2_RTS_Pin PMOD_UART2_TX_Pin PMOD_UART2_RX_Pin */
  GPIO_InitStruct.Pin = PMOD_UART2_CTS_Pin|PMOD_UART2_RTS_Pin|PMOD_UART2_TX_Pin|PMOD_UART2_RX_Pin;
  GPIO_InitStruct.Mode = GPIO_MODE_AF_PP;
  GPIO_InitStruct.Pull = GPIO_NOPULL;
  GPIO_InitStruct.Speed = GPIO_SPEED_FREQ_VERY_HIGH;
  GPIO_InitStruct.Alternate = GPIO_AF7_USART2;
  HAL_GPIO_Init(GPIOD, &GPIO_InitStruct);

  /*Configure GPIO pins : ARD_D15_Pin ARD_D14_Pin */
  GPIO_InitStruct.Pin = ARD_D15_Pin|ARD_D14_Pin;
  GPIO_InitStruct.Mode = GPIO_MODE_AF_OD;
  GPIO_InitStruct.Pull = GPIO_NOPULL;
  GPIO_InitStruct.Speed = GPIO_SPEED_FREQ_VERY_HIGH;
  GPIO_InitStruct.Alternate = GPIO_AF4_I2C1;
  HAL_GPIO_Init(GPIOB, &GPIO_InitStruct);

  /* EXTI interrupt init*/
  HAL_NVIC_SetPriority(EXTI9_5_IRQn, 5, 0);
  HAL_NVIC_EnableIRQ(EXTI9_5_IRQn);

  HAL_NVIC_SetPriority(EXTI15_10_IRQn, 5, 0);
  HAL_NVIC_EnableIRQ(EXTI15_10_IRQn);

}

//void StartCommandIn(void *argument)
//{
//  /* USER CODE BEGIN 5 */
//  /* Infinite loop */
//  NOTE: Chip seems unable to handle 4 threads
//  for(;;)
//  {
//	  osDelay(10000);
//  }
//  /* USER CODE END 5 */
//}

void StartCommandOut(void *argument)
{
  /* USER CODE BEGIN StartCommandOut */
  /* Infinite loop */
  for(;;)
  {
	  HAL_GPIO_TogglePin(LED2_GPIO_Port, LED2_Pin);
	  osDelay(1000);
  }
  /* USER CODE END StartCommandOut */
}

void StartDataIn(void *argument)
{
  /* USER CODE BEGIN StartDataIn */
  /* Infinite loop */
  for(;;)
  {
	    temp_tx_done = 0;
	    temp_rx_done = 0;
	    //	temp_hum_ready = 0;

	  	// 1. Transmit request for a one-shot temperature conversion to device in DMA mode
	  	uint8_t temp_control_reg = 0x21;
	  	uint8_t control_data[] = { temp_control_reg, 0x01 };  // Enable one shot
	  	HAL_StatusTypeDef status;
	  	status = HAL_I2C_Master_Transmit_DMA(&hi2c2, HST221_WRITE_ADDRESS, control_data, sizeof(control_data));
	  	if (status)
	  	{
	  		continue;  // retry upon error
	  	}

//	  	// 1.1 Print out transmit status
//	  	char buf[100];
//	  	snprintf(buf, sizeof(buf), "(Enable one shot): HAL_I2C_Master_Transmit_DMA: status: %u, tx_done: %u\r\n", status, temp_tx_done);
//	  	HAL_UART_Transmit(&huart1, (uint8_t *)buf, strlen(buf), 100);

	  	// 2. Non-blocking wait for interrupt to come signaling successful TX
	  	for (int retries = 0; retries < 50; ++retries)
		{
			if (temp_tx_done)
			{
				break;
			}
			osDelay(100);
		}
		if (!temp_tx_done)
		{
			continue;  // retry upon error
		}

	  	temp_tx_done = 0;

	  	// 3. Transmit request for the temperature's registers using auto incrementing in interrupt mode
	  	uint8_t temp_auto_inc_regs = 0x2a | 0x80;  // Set bit at 0x80 to receive an auto incremented read
	  	status = HAL_I2C_Master_Transmit_DMA(&hi2c2, HST221_WRITE_ADDRESS, &temp_auto_inc_regs, sizeof(temp_auto_inc_regs));
	  	if (status)
	  	{
	  		continue;  // retry upon error
	  	}

//	  	// 3.1 Print out transmit status
//	  	char buf[100];
//	  	snprintf(buf, sizeof(buf), "(Auto increment): HAL_I2C_Master_Transmit_DMA: status: %u\r\n", status);
//	  	HAL_UART_Transmit(&huart1, (uint8_t *)buf, strlen(buf), 100);

	  	// 4. Non-blocking wait for interrupt to come signaling successful TX
	  	for (int retries = 0; retries < 50; ++retries)
	  	{
	  		if (temp_tx_done)
	  		{
	  			break;
	  		}
	  		osDelay(100);
	  	}
	  	if (!temp_tx_done)
	  	{
	  		continue;  // retry upon error
	  	}

	  	// 5. Non-blocking wait for temperature conversion to complete
	  	osDelay(1000);
	  //	while (temp_hum_ready == 0)
	  //	{
	  //		HAL_Delay(1000);
	  //	}

	  	// 6. Receive both bytes of temperature value from device in interrupt mode
	  	uint16_t temp_data = 0x4200;  // constant taint
	  	status = HAL_I2C_Master_Receive_DMA(&hi2c2, HST221_READ_ADDRESS, (uint8_t *)&temp_data, sizeof(temp_data));
	  	if (status)
		{
			continue;  // retry upon error
		}

	  	// 7. Non-blocking wait for interrupt to come signaling successful RX
	  	for (int retries = 0; retries < 50; ++retries)
		{
			if (temp_rx_done)
			{
				break;
			}
			osDelay(100);
		}
	  	if (!temp_rx_done)
		{
			continue;  // retry upon error
		}

	  	// 8. Print out receive status and both bytes of temperature value
	  	char buf[100];
	  	snprintf(buf, sizeof(buf),
	  			"(Auto increment): HAL_I2C_Master_Receive_DMA: status: %u, temp_data: 0x%04x\r\n", status, temp_data);
	  	HAL_UART_Transmit(&huart1, (uint8_t *)buf, strlen(buf), 100);

	  	// 9. Enqueue data for egress
	  	if (osMessageQueuePut(dataQHandle, &temp_data, 0U, 1000) != osOK)
	  	{
	  		snprintf(buf, sizeof(buf), "queue put error: %u, temp_data: 0x%04x\r\n", status, temp_data);
			HAL_UART_Transmit(&huart1, (uint8_t *)buf, strlen(buf), 100);
	  		continue;  // retry upon error
	  	}

	  	// 10. Read humidity value from device to reset data ready interrupt

	  	// 11. Yield until next data collection
	  	osDelay(1000);
  }
  /* USER CODE END StartDataIn */
}

void StartDataOut(void *argument)
{
  /* USER CODE BEGIN StartDataOut */
  /* Infinite loop */
  for(;;)
  {
	  // 1. Dump data from queue for egress
	  uint16_t temp_data = 0x4200;  // constant taint
	  while (osMessageQueueGet(dataQHandle, &temp_data, 0U, 0) == osOK)
	  {
		  char buf[100];
		  snprintf(buf, sizeof(buf), "temp_data: 0x%04x\r\n", temp_data);
		  HAL_UART_Transmit(&huart1, (uint8_t *)buf, strlen(buf), 100);
	  }

	  // 3. Yield until next data poll
	  osDelay(4000);
  }
  /* USER CODE END StartDataOut */
}

void HAL_TIM_PeriodElapsedCallback(TIM_HandleTypeDef *htim)
{
  if (htim->Instance == TIM6) {
    HAL_IncTick();
  }
}

void Error_Handler(void)
{
  __disable_irq();
  while (1)
  {
  }
}
